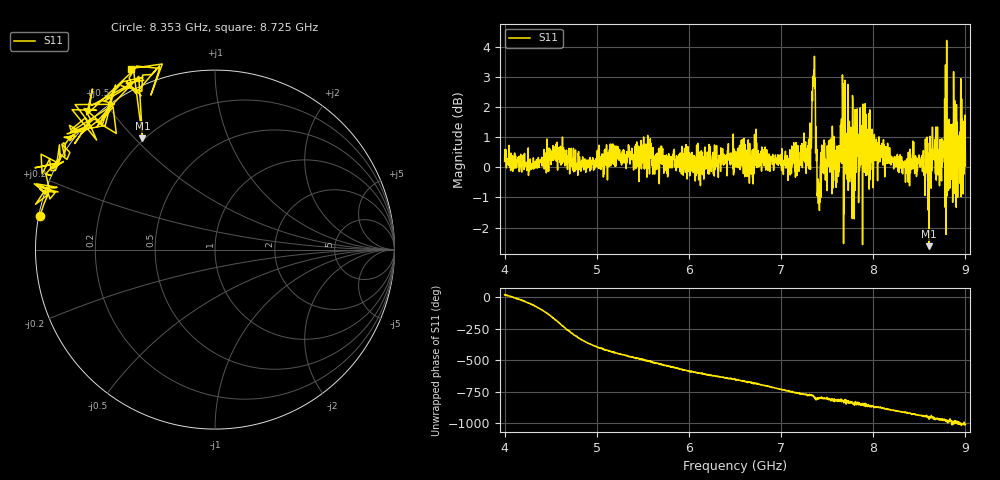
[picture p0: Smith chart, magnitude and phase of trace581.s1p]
! Created with skrf 1.8.0 (http://scikit-rf.org).
# Hz S RI R 50.0
!freq ReS11 ImS11
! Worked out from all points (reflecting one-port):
!   1601 points, 4 GHz to 9 GHz, reference 50 ohm
!   lowest |S11| = -2.6 dB at 8.606 GHz (marker M1), VSWR 6.69, Z = 9.6 + j26.3 ohm
!   phase of S11 starts at 21 deg and turns -1032 deg over the sweep
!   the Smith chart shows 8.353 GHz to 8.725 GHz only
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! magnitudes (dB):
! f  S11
! 4 GHz  0.2
! 4.284 GHz  0.1
! 4.625 GHz  0.6
! 4.762 GHz  -0.1
! 5.25 GHz  0.5
! 5.572 GHz  -0.2
! 5.875 GHz  0.0
! 6.5 GHz  0.1
! 7.125 GHz  0.4
! 7.294 GHz  0.0
! 7.356 GHz  3.2
! 7.369 GHz  3.0
! 7.397 GHz  -0.8
! 7.412 GHz  -0.8
! 7.453 GHz  0.0
! 7.616 GHz  0.5
! 7.65 GHz  0.8
! 7.75 GHz  0.2
! 7.928 GHz  0.5
! 8.375 GHz  -0.3
! 8.422 GHz  0.1
! 8.606 GHz  -2.6
! 8.656 GHz  0.6
! 8.728 GHz  0.4
! 8.788 GHz  -0.5
! 8.844 GHz  -0.2
! 8.972 GHz  0.6
! 9 GHz  0.0
